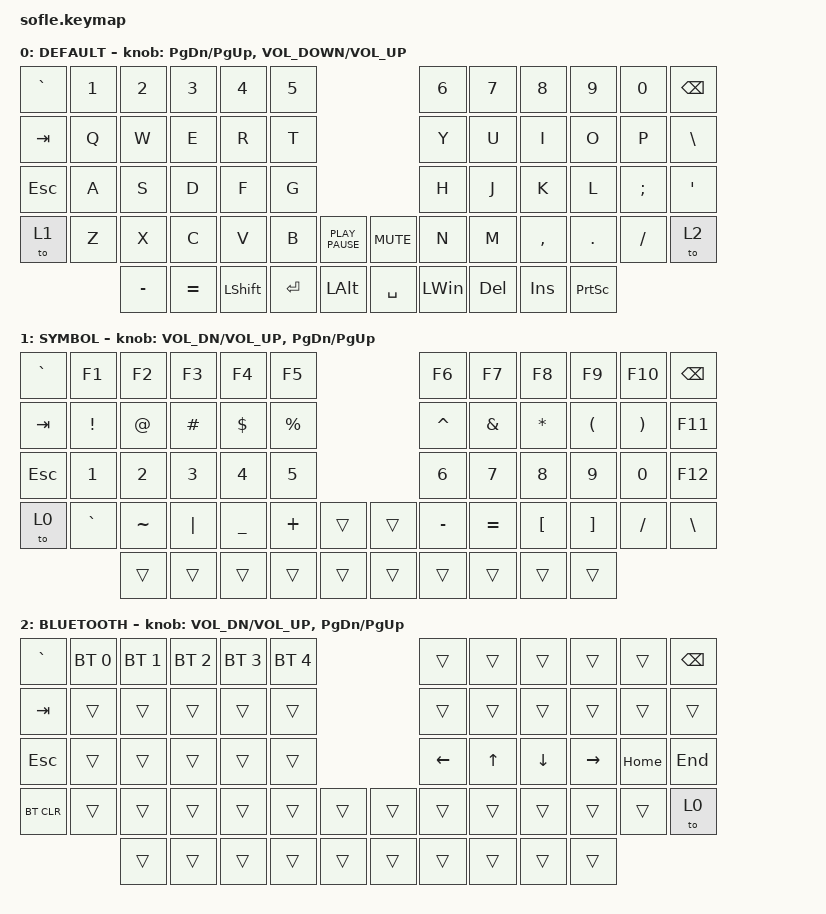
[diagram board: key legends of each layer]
/*
 * Copyright (c) 2020 The ZMK Contributors
 *
 * SPDX-License-Identifier: MIT
 */

#define DEFAULT 0
#define SYMBOL 1
#define BLUETOOTH 2

#include <behaviors.dtsi>
#include <dt-bindings/zmk/keys.h>
#include <dt-bindings/zmk/bt.h>

/ {
    keymap {
        compatible = "zmk,keymap";

        DEFAULT {
            label = "DEFAULT";

            // ------------------------------------------------------------------------------------------------------------
            // |  `    |  1  |  2  |  3   |  4   |  5   |                             |  6   |  7    |  8    |  9   |   0   | BKSPC |
            // |  TAB  |  Q  |  W  |  E   |  R   |  T   |                             |  Y   |  U    |  I    |  O   |   P   | \     |
            // | C/ESC |  A  |  S  |  D   |  F   |  G   |                             |  H   |  J    |  K    |  L   |   ;   |  '    |
            // | to 1  |  Z  |  X  |  C   |  V   |  B   |  MUTE  |        | PLAY      |  N   |  M    |  ,    |  .   |   /   | to 2  |
            //               | PGUP| PGDN | ENTER| L CTRL|L SHIFT|        |GUI        | ALT  | SPACE |  DEL  | PRINT |

            bindings = <
&kp GRAVE  &kp N1     &kp N2     &kp N3          &kp N4     &kp N5                                      &kp N6   &kp N7      &kp N8           &kp N9    &kp N0  &kp BSPC
  &kp TAB   &kp Q      &kp W      &kp E           &kp R      &kp T                                       &kp Y    &kp U       &kp I            &kp O     &kp P  &kp BSLH
  &kp ESC   &kp A      &kp S      &kp D           &kp F      &kp G                                       &kp H    &kp J       &kp K            &kp L  &kp SEMI  &kp APOS
    &to 1   &kp Z      &kp X      &kp C           &kp V      &kp B  &kp K_PLAY_PAUSE  &kp K_MUTE         &kp N    &kp M   &kp COMMA          &kp DOT  &kp FSLH     &to 2
                   &kp MINUS  &kp EQUAL  &kp LEFT_SHIFT  &kp ENTER      &kp LEFT_ALT   &kp SPACE  &kp LEFT_WIN  &kp DEL  &kp INSERT  &kp PRINTSCREEN
            >;

            sensor-bindings =
                <&inc_dec_kp PAGE_DOWN PAGE_UP>,
                <&inc_dec_kp K_VOLUME_DOWN K_VOLUME_UP>;
        };

        SYMBOL {
            label = "SYMBOL";

            // ------------------------------------------------------------------------------------------------------------
            // |  `   |  F1 |  F2 |  F3  |  F4  |  F5  |                           |  F6  |  F7   |  F8   |  F9  |  F10  | BKSPC|
            // |  TAB |  !  |  @  |  #   |  $   |  %   |                           |  ^   |  &    |  *    |  (   |   )   | F11  |
            // | C/ESC|   1 |   2 |   3  |   4  |   5  |                           |   6  |   7   |   8   |   9  |    0  | F12  |
            // | to 0 |  `  |  ~  |  |   |  _   |  +   |        |        |         |  -   |  =    |   [   |  ]   |   /   |   \  |
            //              | PGUP| PGDN | ENTER| L CTRL|L SHIFT|        |GUI      | ALT  | SPACE |  DEL  | PRINT |

            bindings = <
&kp GRAVE     &kp F1     &kp F2    &kp F3     &kp F4     &kp F5                     &kp F6     &kp F7    &kp F8    &kp F9    &kp F10  &kp BSPC
  &kp TAB   &kp EXCL     &kp AT  &kp HASH   &kp DLLR  &kp PRCNT                  &kp CARET   &kp AMPS  &kp STAR  &kp LPAR   &kp RPAR   &kp F11
  &kp ESC     &kp N1     &kp N2    &kp N3     &kp N4     &kp N5                     &kp N6     &kp N7    &kp N8    &kp N9     &kp N0   &kp F12
    &to 0  &kp GRAVE  &kp TILDE  &kp PIPE  &kp UNDER   &kp PLUS  &trans  &trans  &kp MINUS  &kp EQUAL  &kp LBKT  &kp RBKT  &kp SLASH  &kp BSLH
                         &trans    &trans     &trans     &trans  &trans  &trans     &trans     &trans    &trans    &trans
            >;

            sensor-bindings = <&inc_dec_kp C_VOL_DN C_VOL_UP &inc_dec_kp PG_DN PG_UP>;
        };

        BLUETOOTH {
            label = "BLUETOOTH";

            // ------------------------------------------------------------------------------------------------------------
            // |`    | BT1  | BT2  |  BT3  |  BT4  |  BT5 |                        |       |       |       |      |      | BKSPC |
            // | TAB |      |      |       |       |      |                        |       |       |       |      |      |       |
            // |C/ESC|      |      |       |       |      |                        |  <-   |  UP   | DOWN  |  ->  | HOME | END   |       
            // |BTCLR|      |      |       |       |      |      |       |         |       |       |       |      |      | to 0  |
            //              | PGUP | PGDN  | ENTER| L CTRL|L SHIFT|      |GUI      | ALT   |SPACE  |   DEL  | PRINT |

            bindings = <
 &kp GRAVE  &bt BT_SEL 0  &bt BT_SEL 1  &bt BT_SEL 2  &bt BT_SEL 3  &bt BT_SEL 4                    &trans  &trans    &trans     &trans    &trans  &kp BSPC
   &kp TAB        &trans        &trans        &trans        &trans        &trans                    &trans  &trans    &trans     &trans    &trans    &trans
   &kp ESC        &trans        &trans        &trans        &trans        &trans                  &kp LEFT  &kp UP  &kp DOWN  &kp RIGHT  &kp HOME   &kp END
&bt BT_CLR        &trans        &trans        &trans        &trans        &trans  &trans  &trans    &trans  &trans    &trans     &trans    &trans     &to 0
                                &trans        &trans        &trans        &trans  &trans  &trans    &trans  &trans    &trans     &trans
            >;

            sensor-bindings = <&inc_dec_kp C_VOL_DN C_VOL_UP &inc_dec_kp PG_DN PG_UP>;
        };
    };
};
